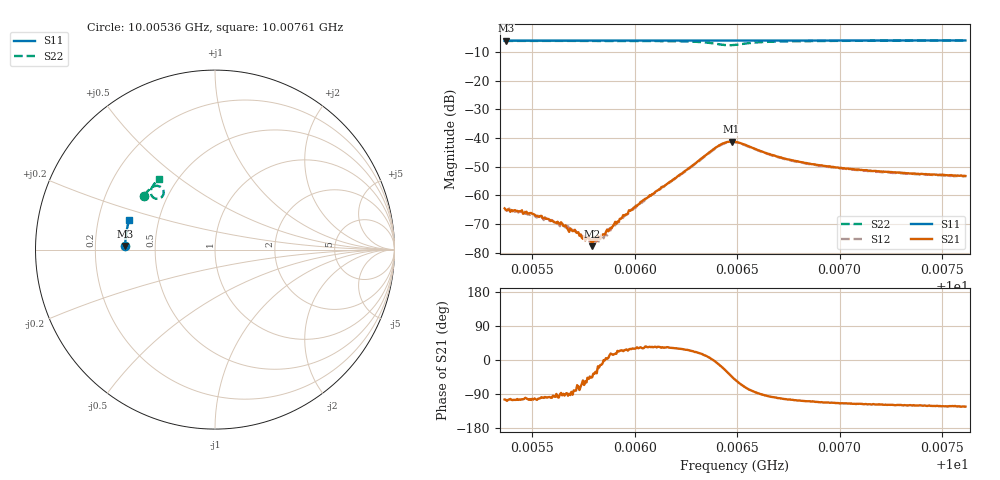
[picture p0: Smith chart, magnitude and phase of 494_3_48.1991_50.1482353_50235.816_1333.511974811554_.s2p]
#  HZ  S  RI  R  50.00
! Rohde & Schwarz Vector Network Analyzer
! Rohde-Schwarz,ZNB20-2Port,1311601062101988,3.16
! Created: UTC 3/20/2024, 11:58:12 AM
! freq[Hz]  re:S11  im:S11  re:S21  im:S21  re:S12  im:S12  re:S22  im:S22
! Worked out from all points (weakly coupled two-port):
!   401 points, 10.00536 GHz to 10.00761 GHz, reference 50 ohm
!   highest |S21| = -41.21 dB at 10.00647 GHz (marker M1); lowest = -77.8 dB at 10.00579 GHz (marker M2)
!   lowest |S11| = -6.0 dB at 10.00537 GHz (marker M3), VSWR 3.01, Z = 16.6 + j0.928 ohm
!   |S11| at or under -10 dB: nowhere
!   |S22| runs from -7.6 to -6.0 dB; largest |S21 - S12| = 0.00054
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1.0005364e10  -0.5005 0.0205  -0.000146 -0.000574  -0.000115 -0.000541  -0.3961 0.2986
1.0005369e10  -0.5004 0.0209  -0.000145 -0.000544  -0.000132 -0.000539  -0.3958 0.2988
1.0005499e10  -0.5002 0.0294  -0.000102 -0.000465  -7.45e-05 -0.000458  -0.3903 0.3066
1.0005589e10  -0.5002 0.0353  -5.82e-05 -0.00035  -4.19e-05 -0.000368  -0.3864 0.312
1.0005634e10  -0.5 0.0382  -4.94e-06 -0.00031  -1.57e-06 -0.000289  -0.3843 0.3145
1.0005685e10  -0.4998 0.0415  -1.16e-05 -0.000265  2.16e-05 -0.000247  -0.3819 0.3175
1.0005713e10  -0.4997 0.0433  3.74e-05 -0.000223  4.39e-05 -0.00023  -0.3805 0.3194
1.0005741e10  -0.4995 0.0452  8.19e-05 -0.000163  6.15e-05 -0.000187  -0.379 0.321
1.0005792e10  -0.4994 0.0484  9.07e-05 -9.25e-05  0.000106 -0.000122  -0.3762 0.3243
1.000582e10  -0.4994 0.0501  0.000187 -5.69e-05  0.000131 -6.21e-05  -0.375 0.326
1.0005831e10  -0.4991 0.051  0.000169 -4.01e-05  0.000171 -2.03e-05  -0.3741 0.3268
1.0005859e10  -0.4991 0.0529  0.000227 1.92e-05  0.000204 3.64e-05  -0.3725 0.3285
1.0005972e10  -0.4985 0.0602  0.000485 0.000258  0.000424 0.00028  -0.3652 0.336
1.0006118e10  -0.4975 0.0696  0.00104 0.000719  0.00101 0.000744  -0.3525 0.3461
1.0006399e10  -0.4947 0.0876  0.00689 -0.000825  0.00677 -0.000423  -0.2888 0.3325
1.0006439e10  -0.494 0.09  0.00749 -0.00353  0.00747 -0.00305  -0.2878 0.3072
1.0006472e10  -0.4938 0.0917  0.00635 -0.00595  0.00655 -0.00549  -0.3024 0.2883
1.0006489e10  -0.4938 0.0927  0.00532 -0.00675  0.00561 -0.0063  -0.313 0.2838
1.0006703e10  -0.4919 0.1063  -0.000858 -0.0046  -0.000656 -0.00454  -0.3577 0.328
1.0006866e10  -0.4901 0.1169  -0.00115 -0.0033  -0.000988 -0.00332  -0.3504 0.3486
1.0007243e10  -0.4846 0.1407  -0.00121 -0.00225  -0.00106 -0.00223  -0.3305 0.3751
1.0007615e10  -0.4781 0.1638  -0.00119 -0.00183  -0.0011 -0.00186  -0.3113 0.3942
